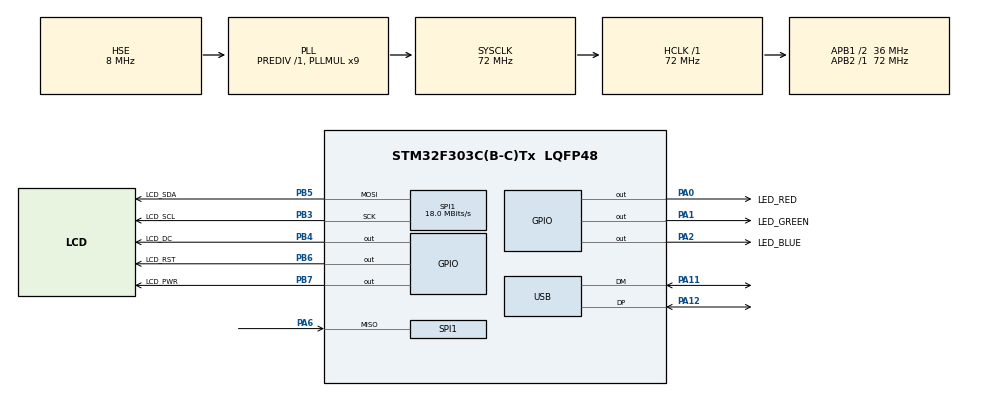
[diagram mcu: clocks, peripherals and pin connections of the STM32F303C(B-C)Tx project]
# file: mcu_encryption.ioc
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CRC.InputDataInversionMode=CRC_INPUTDATA_INVERSION_NONE
Mcu.Family=STM32F3
Mcu.Name=STM32F303C(B-C)Tx
Mcu.Package=LQFP48
NVIC.PriorityGroup=NVIC_PRIORITYGROUP_4
NVIC.TIM7_IRQn=true\:7\:0\:true\:false\:true\:true\:true
NVIC.USB_LP_CAN_RX0_IRQn=true\:0\:0\:false\:false\:true\:false\:true
PA0.GPIO_Label=LED_RED
PA0.GPIO_PuPd=GPIO_PULLUP
PA0.GPIO_Speed=GPIO_SPEED_FREQ_LOW
PA0.PinState=GPIO_PIN_SET
PA0.Signal=GPIO_Output
PA1.GPIO_Label=LED_GREEN
PA1.GPIO_PuPd=GPIO_PULLUP
PA1.GPIO_Speed=GPIO_SPEED_FREQ_LOW
PA1.PinState=GPIO_PIN_SET
PA1.Signal=GPIO_Output
PA11.Mode=Device
PA11.Signal=USB_DM
PA12.Mode=Device
PA12.Signal=USB_DP
PA13.Mode=Serial_Wire
PA13.Signal=SYS_JTMS-SWDIO
PA14.Mode=Serial_Wire
PA14.Signal=SYS_JTCK-SWCLK
PA2.GPIO_Label=LED_BLUE
PA2.GPIO_PuPd=GPIO_PULLUP
PA2.GPIO_Speed=GPIO_SPEED_FREQ_LOW
PA2.PinState=GPIO_PIN_SET
PA2.Signal=GPIO_Output
PA6.Mode=Full_Duplex_Master
PA6.Signal=SPI1_MISO
PB3.GPIO_Label=LCD_SCL
PB3.Mode=Full_Duplex_Master
PB3.Signal=SPI1_SCK
PB4.GPIO_Label=LCD_DC
PB4.GPIO_PuPd=GPIO_PULLUP
PB4.GPIO_Speed=GPIO_SPEED_FREQ_HIGH
PB4.Signal=GPIO_Output
PB5.GPIO_Label=LCD_SDA
PB5.Mode=Full_Duplex_Master
PB5.Signal=SPI1_MOSI
PB6.GPIO_Label=LCD_RST
PB6.GPIO_PuPd=GPIO_PULLUP
PB6.GPIO_Speed=GPIO_SPEED_FREQ_HIGH
PB6.Signal=GPIO_Output
PB7.GPIO_Label=LCD_PWR
PB7.GPIO_PuPd=GPIO_PULLUP
PB7.GPIO_Speed=GPIO_SPEED_FREQ_HIGH
PB7.Signal=GPIO_Output
PF0-OSC_IN.Mode=HSE-External-Oscillator
PF0-OSC_IN.Signal=RCC_OSC_IN
PF1-OSC_OUT.Mode=HSE-External-Oscillator
PF1-OSC_OUT.Signal=RCC_OSC_OUT
ProjectManager.HeapSize=0x400
ProjectManager.StackSize=0x800
ProjectManager.TargetToolchain=MDK-ARM V5.27
RCC.AHBFreq_Value=72000000
RCC.APB1CLKDivider=RCC_HCLK_DIV2
RCC.APB1Freq_Value=36000000
RCC.APB1TimFreq_Value=72000000
RCC.APB2Freq_Value=72000000
RCC.APB2TimFreq_Value=72000000
RCC.CortexFreq_Value=72000000
RCC.HCLKFreq_Value=72000000
RCC.HSE_VALUE=8000000
RCC.HSI_VALUE=8000000
RCC.PLLMUL=RCC_PLL_MUL9
RCC.PRESCALERUSB=RCC_USBCLKSOURCE_PLL_DIV1_5
RCC.SYSCLKFreq_VALUE=72000000
RCC.SYSCLKSourceVirtual=RCC_SYSCLKSOURCE_PLLCLK
RCC.USBFreq_Value=48000000
SPI1.BaudRatePrescaler=SPI_BAUDRATEPRESCALER_4
SPI1.CLKPhase=SPI_PHASE_2EDGE
SPI1.CLKPolarity=SPI_POLARITY_HIGH
SPI1.CalculateBaudRate=18.0 MBits/s
SPI1.DataSize=SPI_DATASIZE_8BIT
SPI1.Direction=SPI_DIRECTION_2LINES
SPI1.Mode=SPI_MODE_MASTER
SPI1.VirtualType=VM_MASTER
TIM7.AutoReloadPreload=TIM_AUTORELOAD_PRELOAD_ENABLE
TIM7.Period=10 - 1
TIM7.Prescaler=7200-1
USB_DEVICE.CLASS_NAME_FS=CUSTOM_HID
USB_DEVICE.CONFIGURATION_STRING_CUSTOMHID_FS=ME_USBD_CONFIGURATION
USB_DEVICE.CUSTOM_HID_FS_BINTERVAL=0x1
USB_DEVICE.INTERFACE_STRING_CUSTOMHID_FS=ME_USBD_INTERFACE
USB_DEVICE.MANUFACTURER_STRING=ME_USBD_MANUFACTURER
USB_DEVICE.PID_CUSTOMHID_FS=ME_USBD_PID
USB_DEVICE.PRODUCT_STRING_CUSTOMHID_FS=ME_USBD_PRODUCT
USB_DEVICE.USBD_CUSTOMHID_OUTREPORT_BUF_SIZE=0x40
USB_DEVICE.USBD_CUSTOM_HID_REPORT_DESC_SIZE=36
USB_DEVICE.USBD_DEBUG_LEVEL=3
USB_DEVICE.USBD_SELF_POWERED=0
USB_DEVICE.VID=ME_USBD_VID
USB_DEVICE.VirtualMode=CustomHid
USB_DEVICE.VirtualModeFS=Custom_Hid_FS
VP_CRC_VS_CRC.Mode=CRC_Activate
VP_TIM7_VS_ClockSourceINT.Mode=Enable_Timer
VP_USB_DEVICE_VS_USB_DEVICE_CUSTOM_HID_FS.Mode=CUSTOM_HID_FS
board=custom

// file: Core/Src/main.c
/* USER CODE BEGIN Header */
/**
  ******************************************************************************
  * @file           : main.c
  * @brief          : Main program body
  ******************************************************************************
  * @attention
  *
  * <h2><center>&copy; Copyright (c) 2021 STMicroelectronics.
  * All rights reserved.</center></h2>
  *
  * This software component is licensed by ST under Ultimate Liberty license
  * SLA0044, the "License"; You may not use this file except in compliance with
  * the License. You may obtain a copy of the License at:
  *                             www.st.com/SLA0044
  *
  ******************************************************************************
  */
/* USER CODE END Header */
#include "main.h"
#include "crc.h"
#include "spi.h"
#include "tim.h"
#include "usb_device.h"
#include "gpio.h"

/* USER CODE BEGIN Includes */
#include "include.h"
#include "lvgl.h"
#include "lv_port_disp.h"
#include "lv_demo.h"
/* USER CODE END Includes */

void SystemClock_Config(void);

int main(void)
{

  /* MCU Configuration--------------------------------------------------------*/

  /* Reset of all peripherals, Initializes the Flash interface and the Systick. */
  HAL_Init();

  /* Configure the system clock */
  SystemClock_Config();

  /* USER CODE BEGIN SysInit */
	debug_log_init();
  /* USER CODE END SysInit */

  /* Initialize all configured peripherals */
  MX_GPIO_Init();
  MX_CRC_Init();
  MX_SPI1_Init();
  MX_TIM7_Init();
  // MX_USB_DEVICE_Init();

  /* USER CODE BEGIN 2 */
  HAL_TIM_Base_Start_IT(&htim7);

  lv_init();
  lv_port_disp_init();
  lv_demo_benchmark();

  /* USER CODE END 2 */

  /* Infinite loop */
  /* USER CODE BEGIN WHILE */
  while (1)
  {
    lv_task_handler();
    /* USER CODE END WHILE */

  }
}

void SystemClock_Config(void)
{
  RCC_OscInitTypeDef RCC_OscInitStruct = {0};
  RCC_ClkInitTypeDef RCC_ClkInitStruct = {0};
  RCC_PeriphCLKInitTypeDef PeriphClkInit = {0};

  /** Initializes the RCC Oscillators according to the specified parameters
  * in the RCC_OscInitTypeDef structure.
  */
  RCC_OscInitStruct.OscillatorType = RCC_OSCILLATORTYPE_HSE;
  RCC_OscInitStruct.HSEState = RCC_HSE_ON;
  RCC_OscInitStruct.HSEPredivValue = RCC_HSE_PREDIV_DIV1;
  RCC_OscInitStruct.HSIState = RCC_HSI_ON;
  RCC_OscInitStruct.PLL.PLLState = RCC_PLL_ON;
  RCC_OscInitStruct.PLL.PLLSource = RCC_PLLSOURCE_HSE;
  RCC_OscInitStruct.PLL.PLLMUL = RCC_PLL_MUL9;
  if (HAL_RCC_OscConfig(&RCC_OscInitStruct) != HAL_OK)
  {
    Error_Handler();
  }
  /** Initializes the CPU, AHB and APB buses clocks
  */
  RCC_ClkInitStruct.ClockType = RCC_CLOCKTYPE_HCLK|RCC_CLOCKTYPE_SYSCLK
                              |RCC_CLOCKTYPE_PCLK1|RCC_CLOCKTYPE_PCLK2;
  RCC_ClkInitStruct.SYSCLKSource = RCC_SYSCLKSOURCE_PLLCLK;
  RCC_ClkInitStruct.AHBCLKDivider = RCC_SYSCLK_DIV1;
  RCC_ClkInitStruct.APB1CLKDivider = RCC_HCLK_DIV2;
  RCC_ClkInitStruct.APB2CLKDivider = RCC_HCLK_DIV1;

  if (HAL_RCC_ClockConfig(&RCC_ClkInitStruct, FLASH_LATENCY_2) != HAL_OK)
  {
    Error_Handler();
  }
  PeriphClkInit.PeriphClockSelection = RCC_PERIPHCLK_USB;
  PeriphClkInit.USBClockSelection = RCC_USBCLKSOURCE_PLL_DIV1_5;
  if (HAL_RCCEx_PeriphCLKConfig(&PeriphClkInit) != HAL_OK)
  {
    Error_Handler();
  }
}

/* USER CODE BEGIN 4 */
void HAL_TIM_PeriodElapsedCallback(TIM_HandleTypeDef *htim)
{
  if (htim->Instance == htim7.Instance)
  {
    lv_tick_inc(1);
	  HAL_GPIO_TogglePin(LED_BLUE_GPIO_Port,LED_BLUE_Pin);
  }
}
/* USER CODE END 4 */

void Error_Handler(void)
{
  /* USER CODE BEGIN Error_Handler_Debug */
	LOG_E("Error Handler\r\n");
  /* User can add his own implementation to report the HAL error return state */
//  __disable_irq();
  while (1)
  {
  }
  /* USER CODE END Error_Handler_Debug */
}

/************************ (C) COPYRIGHT STMicroelectronics *****END OF FILE****/
